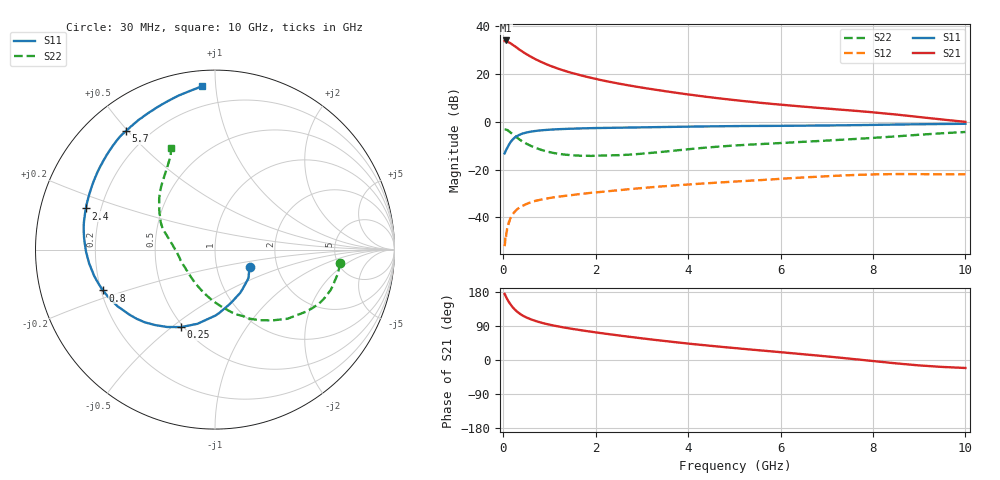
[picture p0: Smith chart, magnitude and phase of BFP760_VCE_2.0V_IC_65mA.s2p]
! Infineon Technologies  Discrete & RF Semiconductors
! BFP760
! VCE =  2.0 V,  IC =  65 mA
! Common Emitter S-Parameters:  Nov 2012
# GHz  S  MA  R  50
!  f  S11  S21  S12  S22
! GHz  MAG  ANG  MAG  ANG  MAG  ANG  MAG  ANG
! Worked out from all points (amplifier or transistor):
!   99 points, 30 MHz to 10 GHz, reference 50 ohm
!   highest |S21| = 34.1 dB at 50 MHz (marker M1)
!   |S21| within 3 dB of that: start of sweep to 292.2 MHz
!   unconditionally stable (mu >= 1): start of sweep to 73.87 MHz; 2.278 GHz to end of sweep
!   at 350 MHz: K = 0.58, MSG = 33.1 dB, |S12| = -35.9 dB
!   at 3.5 GHz: K = 1.13, MAG = 17.7 dB, |S12| = -26.9 dB
!   at 10 GHz: K = 1.12, MAG = 8.9 dB, |S12| = -21.9 dB
!   S11 on the Smith chart (normalised r, x): 30 MHz: 1.45, -0.30; 250 MHz: 0.49, -0.54; 800 MHz: 0.21, -0.17; 2.4 GHz: 0.14, +0.15; 5.7 GHz: 0.12, +0.49; 10 GHz: 0.08, +0.92
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0.03  0.22 -26.8  49.51 174.3  0.0025 67.0  0.7001 -6.1
0.04  0.2293 -34.4  49.67 172.3  0.0029 61.8  0.6991 -8.9
0.05  0.245 -40.4  50.94 169.4  0.0042 71.6  0.6971 -11.4
0.07  0.2665 -54.4  50.17 164.2  0.0048 65.2  0.687 -16.7
0.1  0.3018 -70.5  48.09 157.5  0.0069 64.0  0.6658 -24.3
0.15  0.3674 -89.6  45.05 148.2  0.0094 62.0  0.6095 -34.9
0.2  0.4247 -103.3  41.59 139.9  0.0115 59.3  0.5579 -43.7
0.25  0.4713 -113.6  38.6 133.3  0.0132 55.5  0.5076 -51.0
0.3  0.5073 -121.8  35.62 127.6  0.0148 53.6  0.4677 -57.3
0.35  0.5371 -128.5  32.71 122.9  0.0161 51.5  0.4318 -63.2
0.45  0.5826 -138.6  28.23 115.3  0.018 47.8  0.3767 -72.6
0.6  0.628 -149.8  23.17 107.2  0.0208 44.4  0.3144 -84.8
0.8  0.6647 -160.0  18.5 99.3  0.0234 41.5  0.2645 -98.7
1.2  0.7056 -173.8  12.95 88.4  0.0272 39.2  0.2152 -121.3
1.7  0.7333 174.4  9.357 78.2  0.0312 39.2  0.1954 -142.2
2.4  0.7551 162.3  6.641 66.4  0.0365 39.5  0.2008 -163.0
3.4  0.7811 147.9  4.568 51.4  0.0445 39.1  0.2347 174.9
5.1  0.8204 130.9  2.808 30.5  0.0571 35.8  0.3253 155.9
5.7  0.8262 126.9  2.452 23.9  0.0617 34.5  0.3495 150.8
6.7  0.8396 120.0  2.015 12.9  0.0704 30.6  0.3931 142.3
8.5  0.8822 103.2  1.431 -8.9  0.081 18.5  0.4984 124.4
10  0.9151 94.4  1.005 -21.1  0.0799 12.8  0.6165 113.5
